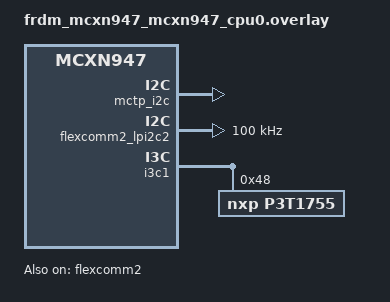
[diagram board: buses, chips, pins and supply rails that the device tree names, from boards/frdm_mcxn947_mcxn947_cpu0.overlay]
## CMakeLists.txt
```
# SPDX-License-Identifier: Apache-2.0

cmake_minimum_required(VERSION 3.20.0)
find_package(Zephyr REQUIRED HINTS $ENV{ZEPHYR_BASE})
project(sensor)

target_include_directories(app PRIVATE
    ../../pldm/common/include
    ../../mctp/common/include
)

FILE(GLOB app_sources src/*.c)
target_sources(app PRIVATE
    ${app_sources}
    ../../pldm/common/pldm.c
    ../../mctp/common/mctp.c
)
```

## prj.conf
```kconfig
CONFIG_ADC=y
CONFIG_SENSOR=y
CONFIG_REQUIRES_FLOAT_PRINTF=y
CONFIG_MCTP=y
CONFIG_MCTP_UART=y
CONFIG_SERIAL=y
CONFIG_UART_ASYNC_API=y
CONFIG_LOG=y

CONFIG_PLDM=y

CONFIG_I2C=y
CONFIG_I2C_TARGET=y
CONFIG_MCTP_I2C_GPIO_TARGET=y

CONFIG_I3C=y
CONFIG_MCTP_I3C_TARGET=y

CONFIG_LOG_BUFFER_SIZE=4096
```

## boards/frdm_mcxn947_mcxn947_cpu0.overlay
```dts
&gpio5 {
	status = "okay";
};

&flexcomm2 {
	status = "okay";
};

&flexcomm2_lpi2c2 {
	status = "okay";
	clock-frequency = <I2C_BITRATE_STANDARD>;
};

&i3c1 {
	status = "okay";

	i2c-scl-hz = <DT_FREQ_K(400)>;
	i3c-scl-hz = <DT_FREQ_M(4)>;
	i3c-od-scl-hz = <DT_FREQ_K(1500)>;

	p3t1755: p3t1755@4800000236152a0090 {
		compatible = "nxp,p3t1755";
		reg = <0x48 0x0236 0x152a0090>;
		status = "okay";
	};
};

/ {
	aliases {
		ambient-temp0 = &p3t1755;
	};

	mctp_i2c: mctp_i2c {
		compatible = "zephyr,mctp-i2c-gpio-target";
		i2c = <&flexcomm2_lpi2c2>;
		i2c-addr = <70>;
		endpoint-id = <15>;
		endpoint-gpios = <&gpio5 3 GPIO_ACTIVE_HIGH>;
	};
};
```

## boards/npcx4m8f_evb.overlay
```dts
/*
 * Copyright (c) 2019 Nordic Semiconductor ASA
 *
 * SPDX-License-Identifier: Apache-2.0
 */

/* GND J8.4 */

&rctl {
	status = "okay";
};

&i3c0 {
	status = "okay";
	i3c-scl-hz = <7500000>;
	i3c-od-scl-hz = <1500000>;

	bcr = <0x06>;
	tgt-pid = <0x0000020a 0x00000011>;
};

&pcc {
	clock-frequency = <DT_FREQ_M(90)>; /* OFMCLK runs at 90MHz */
	core-prescaler = <3>; /* CORE_CLK runs at 30MHz */
	apb1-prescaler = <6>; /* APB1_CLK runs at 15MHz */
	apb2-prescaler = <6>; /* APB2_CLK runs at 15MHz */
	apb3-prescaler = <6>; /* APB3_CLK runs at 15MHz */
	apb4-prescaler = <3>; /* APB4_CLK runs at 30MHz */
};

/ {
	mctp_i3c: mctp_i3c {
		compatible = "zephyr,mctp-i3c-target";
		i3c = <&i3c0>;
		endpoint-id = <11>;
	};

	ntc {
		compatible = "seeed,grove-temperature";
		/* VCC J4.3 */
		/* ADC GND J17.18 */
		/* ADC A0 J17.12 */
		io-channels = <&adc0 0>;
	};
};
```

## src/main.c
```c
/*
 * Copyright (c) 2016 Intel Corporation
 *
 * SPDX-License-Identifier: Apache-2.0
 */

#include <zephyr/kernel.h>
#include <zephyr/init.h>
#include <stdio.h>
#include <zephyr/drivers/sensor.h>

#include <libmctp.h>
#include <zephyr/pmci/mctp/mctp_i3c_target.h>

#include <libpldm/entity.h>
#include <libmctp-cmds.h>
#include <control.h>

#include <pldm.h>
#include <mctp.h>

#include <zephyr/logging/log.h>
LOG_MODULE_REGISTER(sensor_mctp_endpoint);

MCTP_I3C_TARGET_DT_DEFINE(mctp_endpoint, DT_NODELABEL(mctp_i3c));
#define LOCAL_EID DT_PROP(DT_NODELABEL(mctp_i3c), endpoint_id)

static const struct device *const dev = DEVICE_DT_GET_ONE(seeed_grove_temperature);

#define REMOTE_EID 20
/* Local PLDM Terminus ID that responds to requests */
#define LOCAL_TID 2

struct message {
	uintptr_t fifo;
	size_t len;
	uint8_t src_eid;
	bool tag_owner;
	uint8_t msg_tag;
	struct mctp_binding *binding;
	uint8_t data[];
};

K_FIFO_DEFINE(rx_fifo);

static struct mctp *mctp_ctx;

static struct pldm_tid_info tid_info = {
	.tid = LOCAL_EID,
	.types = {
		{ .byte = BIT(PLDM_BASE) | BIT(PLDM_PLATFORM)},
		{ 0 },
	},
	.type_infos = {
		[PLDM_BASE] = {
			.version = {
				.major = 1,
			},
			.commands = {
				{ .byte = BIT(PLDM_GET_TID)  | BIT(PLDM_GET_PLDM_VERSION) |
					  BIT(PLDM_GET_PLDM_TYPES) | BIT(PLDM_GET_PLDM_COMMANDS)
				},
				{ 0 },
			},
		},
		[PLDM_PLATFORM] = {
			.version = {
				.major = 1,
			},
			.commands = {
				[PLDM_GET_SENSOR_READING / 8] = {
					.byte = BIT(PLDM_GET_SENSOR_READING % 8)
				},
				[PLDM_GET_PDR_REPOSITORY_INFO / 8] = {
					.byte = BIT(PLDM_GET_PDR % 8)
				},
				{ 0 },
			},
		}
	},
};

static struct pldm_compact_numeric_sensor_pdr sensor_pdr = {
	.hdr = {
		.record_handle = 0,
		.version = 1,
		.type = PLDM_COMPACT_NUMERIC_SENSOR_PDR,
		.record_change_num = 0,
		.length = sys_cpu_to_le16(sizeof(struct pldm_compact_numeric_sensor_pdr) -
					  sizeof(struct pldm_pdr_hdr)),
	},
	.terminus_handle = sys_cpu_to_le16(LOCAL_TID),
	.sensor_id = sys_cpu_to_le16(1),
	.entity_type = sys_cpu_to_le16(PLDM_ENTITY_TERMINUS | (1 << 15)),
	.entity_instance = sys_cpu_to_le16(1),
	.container_id = 0,
	.sensor_name_length = 0,
	.base_unit = PLDM_SENSOR_UNIT_DEGRESS_C,
	.unit_modifier = -1,
	.occurrence_rate = PLDM_RATE_UNIT_NONE,
	.range_field_support.byte = 0,
	.warning_high = sys_cpu_to_le32(100),
	.warning_low = sys_cpu_to_le32(-100),
	.critical_high = sys_cpu_to_le32(150),
	.critical_low = sys_cpu_to_le32(-150),
	.fatal_high = sys_cpu_to_le32(200),
	.fatal_low = sys_cpu_to_le32(-200),
};

static struct pldm_pdr_hdr *all_pdrs[] = {
	(struct pldm_pdr_hdr *)&sensor_pdr,
};

static int sensor_reading_cb(uint16_t sensor_id, bool8_t rearm, uint8_t *comp_code, uint8_t *sensor_data_size,
		      uint8_t *sensor_operational_state, uint8_t *sensor_event_message_enable,
		      uint8_t *present_state, uint8_t *previous_state, uint8_t *event_state,
		      const uint8_t *present_reading);

static struct pldm_commands_cb pldm_cbs = {
	.numeric_sensor_reading = sensor_reading_cb,
};

int read_temperature(struct sensor_value *val)
{
	int ret;

	ret = sensor_sample_fetch_chan(dev, SENSOR_CHAN_AMBIENT_TEMP);
	if (ret < 0) {
		LOG_ERR("Could not fetch temperature: %d", ret);
		return ret;
	}

	ret = sensor_channel_get(dev, SENSOR_CHAN_AMBIENT_TEMP, val);
	if (ret < 0) {
		LOG_ERR("Could not get temperature: %d", ret);
	}
	return ret;
}

static int sensor_reading_cb(uint16_t sensor_id, bool8_t rearm, uint8_t *comp_code, uint8_t *sensor_data_size,
			      uint8_t *sensor_operational_state, uint8_t *sensor_event_message_enable,
			      uint8_t *present_state, uint8_t *previous_state, uint8_t *event_state,
			      const uint8_t *present_reading)
{

	struct sensor_value temp;
	int32_t reading;
	int rc;

	*sensor_data_size = PLDM_SENSOR_DATA_SIZE_SINT32;
	*sensor_operational_state = PLDM_SENSOR_ENABLED;
	*sensor_event_message_enable = PLDM_NO_EVENT_GENERATION;
	*present_state = PLDM_SENSOR_NORMAL;
	*previous_state = PLDM_SENSOR_UNKNOWN;
	*event_state = PLDM_SENSOR_NORMAL;

	rc = read_temperature(&temp);
	if (rc < 0) {
		LOG_ERR("Error reading temperature sensor: %d", rc);
		*present_state = PLDM_SENSOR_UNKNOWN;
	}

	LOG_INF("Read temperature sensor, value %f", sensor_value_to_double(&temp));
	reading = sensor_value_to_deci(&temp);

	*comp_code = PLDM_SUCCESS;

	memcpy((void *)present_reading, &reading, sizeof(reading));

	return 0;
}

static bool  msg_type_versions(uint8_t msg_type, uint32_t **versions, size_t *num_versions)
{
	/* 1.2 On MCTP BCD Version encoding */
	static const uint8_t version[] = { 0xf1, 0xf2, 0xff, 0x00 };

	if (msg_type == PLDM_MCTP_MESSAGE_TYPE) {
		*versions = (uint32_t *)&version;
		*num_versions = 1;
		return true;
	}

	return false;
}

static void mctp_rx_work(struct k_work *item)
{
	int rc;

	while (true) {
		struct message *rx_msg = k_fifo_get(&rx_fifo, K_NO_WAIT);
		if (!rx_msg) {
			break;
		}

		switch (rx_msg->data[0] & MCTP_MESSAGE_TYPE_MASK) {
		case PLDM_MCTP_MESSAGE_TYPE: {

				LOG_INF("Processing PLDM message from mctp endpoint %d, len %zu", rx_msg->src_eid, rx_msg->len);
				LOG_HEXDUMP_DBG(rx_msg->data, rx_msg->len, "PLDM message");

				rc = pldm_request_handler(mctp_ctx, rx_msg->src_eid, &tid_info, all_pdrs,
							  ARRAY_SIZE(all_pdrs), &pldm_cbs,
							  (struct pldm_msg *)&rx_msg->data[1],
							  rx_msg->len - 1);

				LOG_DBG("PLDM request handler returned %d", rc);
			}
			break;
		case MCTP_CTRL_HDR_MSG_TYPE: {
				LOG_INF("Processing MCTP control message from mctp endpoint %d, len %zu", rx_msg->src_eid, rx_msg->len);
				LOG_HEXDUMP_DBG(rx_msg->data, rx_msg->len, "MCTP control message");


				mctp_control_request_handler(rx_msg->binding, rx_msg->src_eid, rx_msg->tag_owner,
							     rx_msg->msg_tag, rx_msg->data, rx_msg->len,
							     msg_type_versions);
			}
			break;
		}

		free(rx_msg);
	}
}
K_WORK_DEFINE(rx_work, mctp_rx_work);

static void rx_message(uint8_t src_eid, bool tag_owner, uint8_t msg_tag, void *data, void *msg,
		       size_t len)
{
	/* Treat data as a buffer for byte wise access */
	uint8_t *msg_buf = msg;
	struct message *rx_msg;

	if (len < 1) {
		LOG_WRN("MCTP Message should contain a message type and integrity check byte!");
		return;
	}

	/* If the message endpoint ID matches our local endpoint ID, submit
	 * it to the work queue for processing.
	 */
	rx_msg = malloc(sizeof(struct message) + len);

	if (!rx_msg) {
		LOG_ERR("Failed to allocate memory for incoming message");
		return;
	}
	rx_msg->len = len;
	rx_msg->src_eid = src_eid;
	rx_msg->tag_owner = tag_owner;
	rx_msg->msg_tag = msg_tag;
	rx_msg->binding = data;
	memcpy(rx_msg->data, msg_buf, len);
	k_fifo_put(&rx_fifo, rx_msg);
	k_work_submit(&rx_work);
}

int main(void)
{
	if (!device_is_ready(dev)) {
		LOG_WRN("sensor: device not ready.\n");
		return 0;
	}

	LOG_INF("Sensor EID:%d on %s\n", LOCAL_EID, CONFIG_BOARD_TARGET);

	LOG_INF("Supported PLDM types:");
	for (int i = 0; i <= 8; i++) {
		if (is_bit_set(tid_info.types, i)) {
			LOG_INF("\tType %d", i);
			LOG_INF("\t\tVersion: %d.%d", tid_info.type_infos[i].version.major, tid_info.type_infos[i].version.minor);
			LOG_INF("\t\tSupported commands:");
			for (int cmd = 0; cmd < 256; cmd++) {
				if (is_bit_set(tid_info.type_infos[i].commands, cmd)) {
					LOG_INF("\t\t\tCommand %d", cmd);
				}
			}
		}
	}
	if (is_bit_set(tid_info.types, PLDM_OEM)) {
		LOG_INF("\tType OEM");
		LOG_INF("\t\tVersion: %d.%d", tid_info.type_infos[PLDM_TYPE_INFO_IDX(PLDM_OEM)].version.major, tid_info.type_infos[PLDM_TYPE_INFO_IDX(PLDM_OEM)].version.minor);
		LOG_INF("\t\tSupported commands:");
		for (int cmd = 0; cmd < 256; cmd++) {
			if (is_bit_set(tid_info.type_infos[PLDM_TYPE_INFO_IDX(PLDM_OEM)].commands, cmd)) {
				LOG_INF("\t\t\tCommand %d", cmd);
			}
		}
	}
	mctp_ctx = mctp_init();
	__ASSERT_NO_MSG(mctp_ctx != NULL);
	mctp_register_bus(mctp_ctx, &mctp_endpoint.binding, LOCAL_EID);
	mctp_set_rx_all(mctp_ctx, rx_message, &mctp_endpoint.binding);
	mctp_control_add_type(mctp_ctx, PLDM_MCTP_MESSAGE_TYPE);
	/* For some reason, libmctp doesn't add the base type by default */
	mctp_control_add_type(mctp_ctx, MCTP_MSG_TYPE_NUMBER_MCTP_BASE);
#if DT_NODE_HAS_STATUS_OKAY(DT_NODELABEL(mctp_serial))
	mctp_uart_start_rx(&mctp_endpoint);
#endif

	return 0;
}
```
